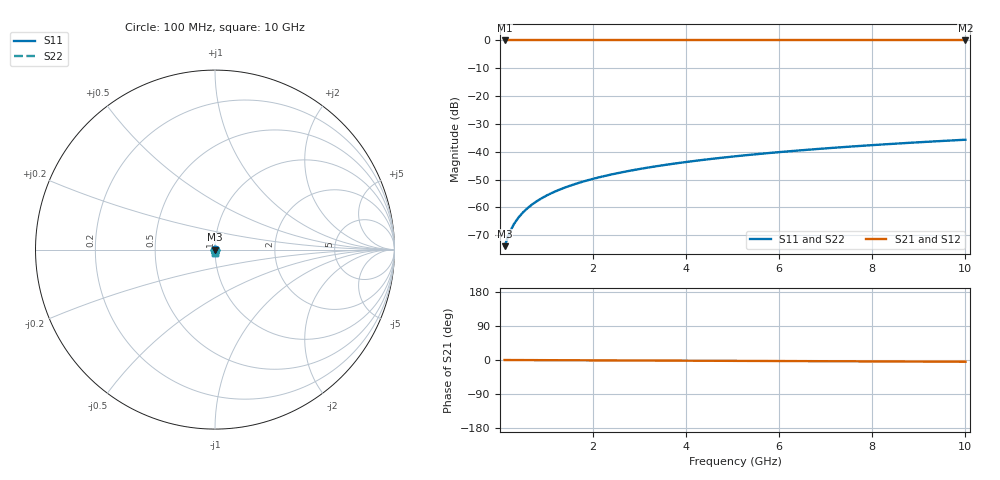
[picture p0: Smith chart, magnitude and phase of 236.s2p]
# Hz S RI R 50.00
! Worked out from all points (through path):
!   100 points, 100 MHz to 10 GHz, reference 50 ohm
!   highest |S21| = 0.00 dB at 100 MHz (marker M1); lowest = 0.0 dB at 10 GHz (marker M2)
!   lowest |S11| = -73.9 dB at 100 MHz (marker M3), VSWR 1.00, Z = 50 - j0.0163 ohm
!   |S11| at or under -10 dB: start of sweep to end of sweep
!   |S22| runs from -73.9 to -35.7 dB; largest |S21 - S12| = 0
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1e8  0.000118 -0.000162  0.9999 -0.00079  0.9999 -0.00079  0.000118 -0.000162
2e8  0.000118 -0.000325  0.9999 -0.00158  0.9999 -0.00158  0.000118 -0.000325
3e8  0.000118 -0.000488  0.9999 -0.00237  0.9999 -0.00237  0.000118 -0.000488
4e8  0.000117 -0.00065  0.9999 -0.00316  0.9999 -0.00316  0.000117 -0.00065
5e8  0.000116 -0.000813  0.9999 -0.00395  0.9999 -0.00395  0.000116 -0.000813
6e8  0.000114 -0.000975  0.9999 -0.00474  0.9999 -0.00474  0.000114 -0.000975
7e8  0.000112 -0.00114  0.9999 -0.00553  0.9999 -0.00553  0.000112 -0.00114
8e8  0.00011 -0.0013  0.9999 -0.00632  0.9999 -0.00632  0.00011 -0.0013
9e8  0.000108 -0.00146  0.9998 -0.00711  0.9998 -0.00711  0.000108 -0.00146
1.1e9  0.000103 -0.00179  0.9998 -0.00869  0.9998 -0.00869  0.000103 -0.00179
1.4e9  9.23e-05 -0.00228  0.9998 -0.0111  0.9998 -0.0111  9.23e-05 -0.00228
1.8e9  7.48e-05 -0.00293  0.9998 -0.0142  0.9998 -0.0142  7.48e-05 -0.00293
2.1e9  5.89e-05 -0.00342  0.9997 -0.0166  0.9997 -0.0166  5.89e-05 -0.00342
2.5e9  3.41e-05 -0.00408  0.9997 -0.0198  0.9997 -0.0198  3.41e-05 -0.00408
2.9e9  4.96e-06 -0.00473  0.9996 -0.0229  0.9996 -0.0229  4.96e-06 -0.00473
3.4e9  -3.74e-05 -0.00555  0.9995 -0.0269  0.9995 -0.0269  -3.74e-05 -0.00555
4.2e9  -0.000119 -0.00687  0.9993 -0.0333  0.9993 -0.0333  -0.000119 -0.00687
5.1e9  -0.000231 -0.00835  0.999 -0.0405  0.999 -0.0405  -0.000231 -0.00835
5.9e9  -0.000349 -0.00967  0.9987 -0.0469  0.9987 -0.0469  -0.000349 -0.00967
6.7e9  -0.000484 -0.011  0.9984 -0.0533  0.9984 -0.0533  -0.000484 -0.011
8.4e9  -0.000828 -0.0138  0.9975 -0.0669  0.9975 -0.0669  -0.000828 -0.0138
1e10  -0.00122 -0.0164  0.9965 -0.0799  0.9965 -0.0799  -0.00122 -0.0164
